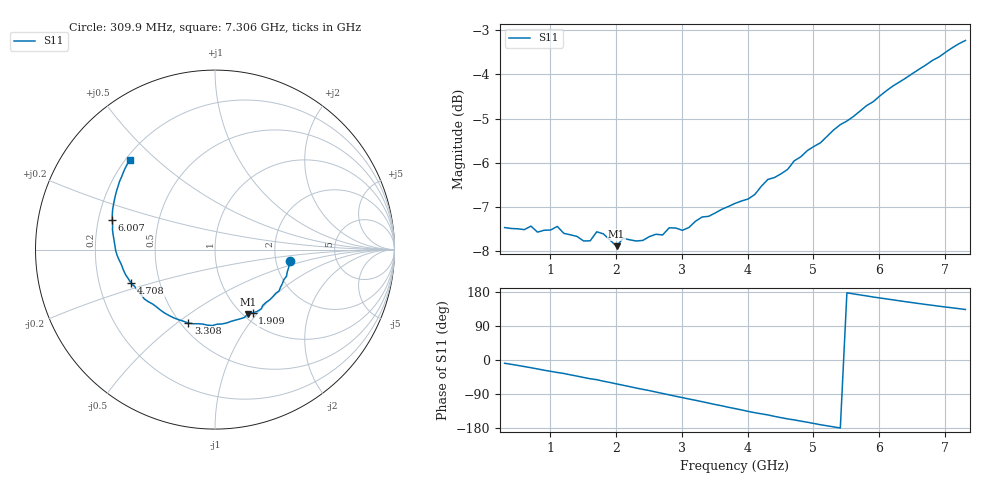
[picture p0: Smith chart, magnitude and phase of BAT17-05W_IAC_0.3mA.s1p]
! Infineon Technologies  Discrete & RF Semiconductors
! BAT17-05W
! IAC = 0.3 mA
! One-Port S-Parameters
# Hz  S  MA  R  50
!f  S11
!Hz  Mag  Ang
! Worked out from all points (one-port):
!   71 points, 309.9 MHz to 7.306 GHz, reference 50 ohm
!   lowest |S11| = -7.9 dB at 2.009 GHz (marker M1), VSWR 2.35, Z = 52.5 - j45.1 ohm
!   |S11| at or under -10 dB: nowhere
!   S11 on the Smith chart (normalised r, x): 309.9 MHz: 2.40, -0.37; 1.909 GHz: 1.11, -0.94; 3.308 GHz: 0.55, -0.55; 4.708 GHz: 0.34, -0.17; 6.007 GHz: 0.26, +0.13; 7.306 GHz: 0.22, +0.41
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3.0985e8  0.4236 -8.7
7.0965e8  0.4251 -20.4
8.096e8  0.4186 -23.6
1.10945e9  0.4248 -32.9
1.2094e9  0.4172 -35.6
1.6092e9  0.4092 -49.5
1.70915e9  0.4189 -52.0
1.90905e9  0.4101 -59.3
2.009e9  0.4036 -63.1
2.10895e9  0.4119 -66.6
2.4088e9  0.4097 -77.4
2.8086e9  0.4233 -92.0
3.0085e9  0.4205 -99.2
3.30835e9  0.4354 -110.0
3.6082e9  0.4442 -120.9
3.8081e9  0.451 -128.2
4.10795e9  0.4615 -139.0
4.30785e9  0.48 -145.0
4.6077e9  0.4927 -155.4
4.70765e9  0.5038 -158.1
4.90755e9  0.5174 -164.3
5.30735e9  0.546 -176.5
5.6072e9  0.5654 174.5
6.007e9  0.5963 163.7
6.2069e9  0.612 158.7
6.50675e9  0.6324 151.2
6.8066e9  0.6541 144.3
7.30635e9  0.6889 133.3
